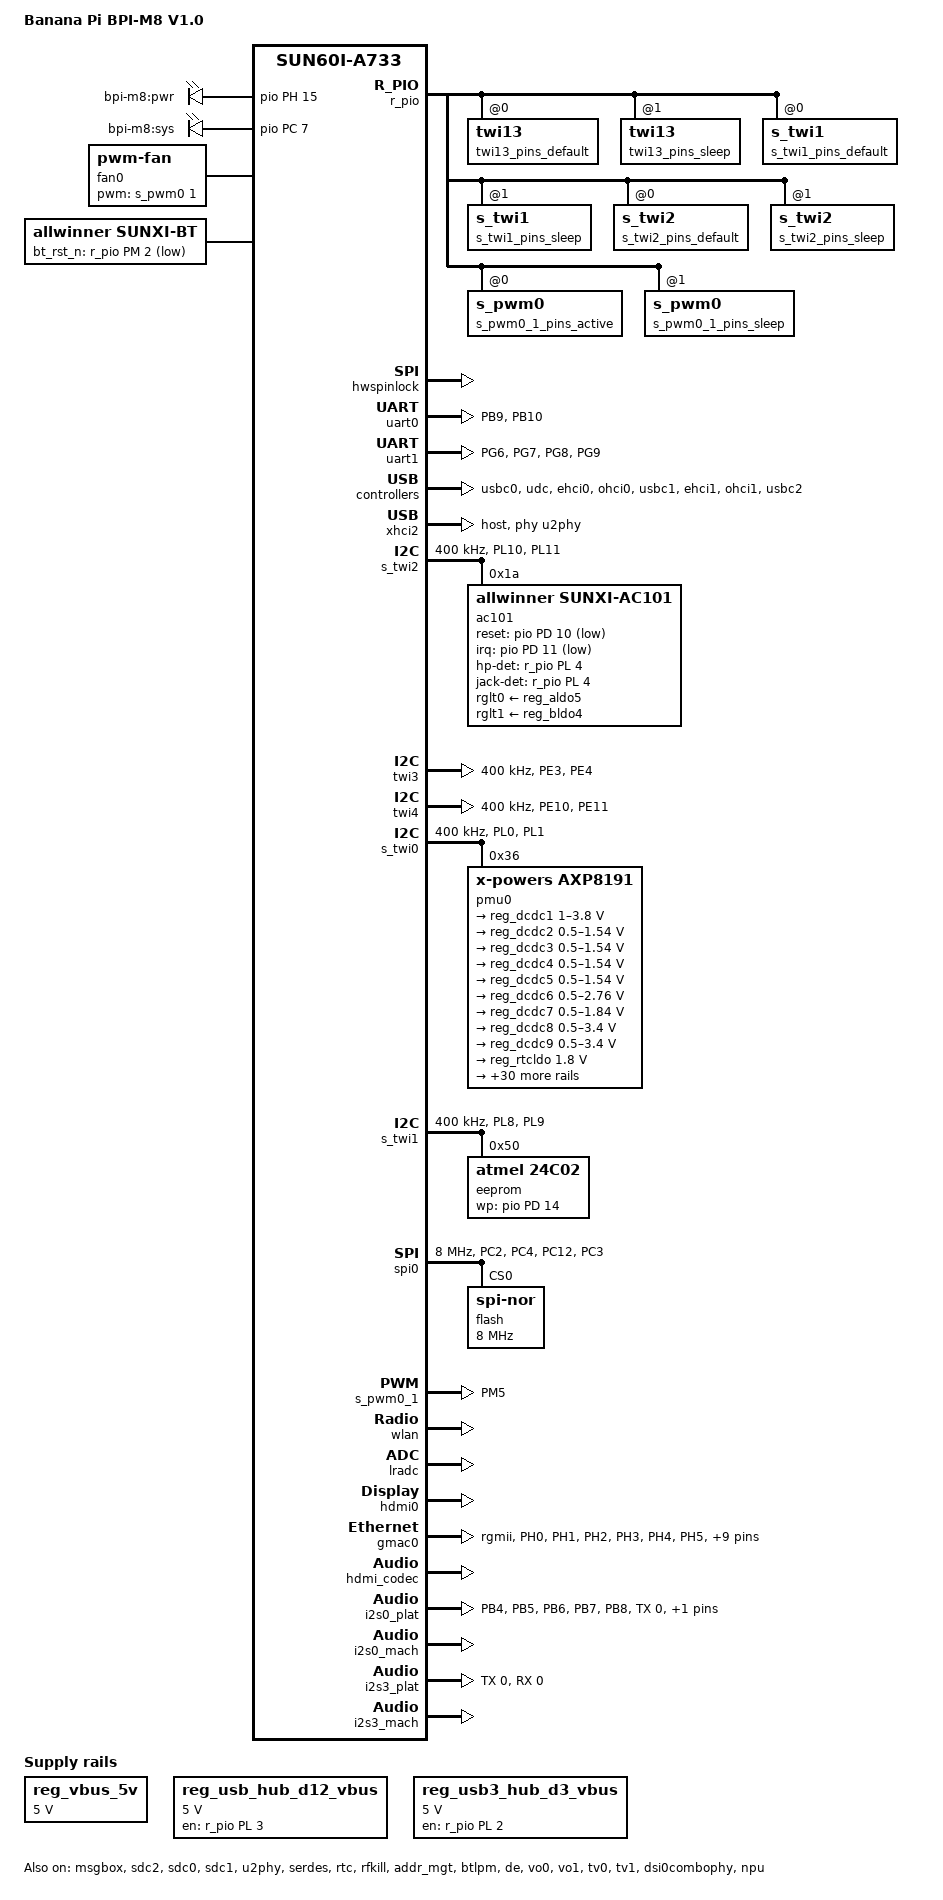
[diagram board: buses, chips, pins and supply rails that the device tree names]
// SPDX-License-Identifier: (GPL-2.0+ or MIT)

/dts-v1/;

#include "sun60iw2p1.dtsi"
#include <dt-bindings/input/linux-event-codes.h>
#include <dt-bindings/spi/sunxi-spi.h>

/ {
	model = "Banana Pi BPI-M8 V1.0";
	board = "A733", "A733-BPI-M8-AXP318";
	compatible = "bananapi,bananapi-m8", "allwinner,a733", "arm,sun60iw2p1";
	aliases {
		standby_param = &standby_param;
		arisc-config = &arisc_config;
		pmu0 = &pmu0;
		mmc0 = &sdc0;
		mmc1 = &sdc2;
		mmc2 = &sdc1;
		sunxi-mmc2 = &sdc2;
	};

	leds {
		compatible = "gpio-leds";

		pwr-led {
			label = "bpi-m8:pwr";
			gpios = <&pio PH 15 GPIO_ACTIVE_HIGH>;
			default-state = "on";
		};

		sys-led {
			label = "bpi-m8:sys";
			gpios = <&pio PC 7 GPIO_ACTIVE_HIGH>;
			linux,default-trigger = "heartbeat";
		};
	};

	reg_vbus_5v: regulator-vbus-5v {
		compatible = "regulator-fixed";
		regulator-name = "vbus-axp318-5v";
		regulator-min-microvolt = <5000000>;
		regulator-max-microvolt = <5000000>;
		regulator-always-on;
		regulator-boot-on;
	};

	/* CH334F downstream HOST-D1/HOST-D2 external 5V enable. */
	reg_usb_hub_d12_vbus: usb-hub-d12-vbus {
		compatible = "regulator-fixed";
		regulator-name = "usb-hub-d12-vbus";
		regulator-min-microvolt = <5000000>;
		regulator-max-microvolt = <5000000>;
		regulator-enable-ramp-delay = <1000>;
		gpio = <&r_pio PL 3 GPIO_ACTIVE_HIGH>;
		enable-active-high;
		regulator-always-on;
		regulator-boot-on;
	};

	/* HOST-D3 plus USB3 SS port external 5V enable. */
	reg_usb3_hub_d3_vbus: usb3-hub-d3-vbus {
		compatible = "regulator-fixed";
		regulator-name = "usb3-hub-d3-vbus";
		regulator-min-microvolt = <5000000>;
		regulator-max-microvolt = <5000000>;
		regulator-enable-ramp-delay = <1000>;
		gpio = <&r_pio PL 2 GPIO_ACTIVE_HIGH>;
		enable-active-high;
		regulator-always-on;
		regulator-boot-on;
	};

	standby_param: standby_param {
		vdd-cpub = <0x00000004 0x00000000>;
		vdd-cpu = <0x00000010 0x00000000>;
		vdd-sys = <0x00000002 0x00000000>;
		vdd-gpu = <0x00000008 0x00000000>;
		vdd-npu = <0x00000002 0x00000000>;
		vcc-pll = <0x01000000 0x00000000>;
		vcc18-hdmi = <0x00800000 0x00000000>;
		avdd-h-combo = <0x04000000 0x00000000>;
		vcc-io  = <0x00000400 0x00000000>;
		vcc25-ufs = <0x00000000 0x00000001>;
		vcc18-12-ufs = <0x00000080 0x00000000>;
		vcc-efuse = <0x08000000 0x00000000>;

		vdd-usb = <0x00000001>;
		osc24m-on = <0>;
	};

	arisc_config: arisc_config {
		s_uart_config{
			pins = "PL2", "PL3";
			function = <3>, <3>;
			status = "disabled";
		};
	};

	backlight0: backlight0 {
		compatible = "pwm-backlight";
		status = "disabled";
		brightness-levels = <
			  0   1   2   3   4   5   6   7
			  8   9  10  11  12  13  14  15
			 16  17  18  19  20  21  22  23
			 24  25  26  27  28  29  30  31
			 32  33  34  35  36  37  38  39
			 40  41  42  43  44  45  46  47
			 48  49  50  51  52  53  54  55
			 56  57  58  59  60  61  62  63
			 64  65  66  67  68  69  70  71
			 72  73  74  75  76  77  78  79
			 80  81  82  83  84  85  86  87
			 88  89  90  91  92  93  94  95
			 96  97  98  99 100 101 102 103
			104 105 106 107 108 109 110 111
			112 113 114 115 116 117 118 119
			120 121 122 123 124 125 126 127
			128 129 130 131 132 133 134 135
			136 137 138 139 140 141 142 143
			144 145 146 147 148 149 150 151
			152 153 154 155 156 157 158 159
			160 161 162 163 164 165 166 167
			168 169 170 171 172 173 174 175
			176 177 178 179 180 181 182 183
			184 185 186 187 188 189 190 191
			192 193 194 195 196 197 198 199
			200 201 202 203 204 205 206 207
			208 209 210 211 212 213 214 215
			216 217 218 219 220 221 222 223
			224 225 226 227 228 229 230 231
			232 233 234 235 236 237 238 239
			240 241 242 243 244 245 246 247
			248 249 250 251 252 253 254 255>;
		default-brightness-level = <73>;
		pwms = <&pwm0 4 25000 0>;
		enable-gpios = <&pio PD 19 GPIO_ACTIVE_HIGH>;
	};

	fan0: pwm-fan {
		compatible = "pwm-fan";
		#cooling-cells = <2>;
		cooling-levels = <1 64 128 192 255>;
		pwms = <&s_pwm0 1 25000 0>;
	};

	panel_0: panel_0@0 {
		compatible = "allwinner,panel-dsi";
		status = "disabled";
		power-delay-ms = <10>;
		power-num = <2>;
		power0-supply = <&reg_vbus_5v>;
		power1-supply = <&reg_bldo2>;
		// avdd-supply = <&reg_ext_ocp2131_avdd>;
		// avdd-output-voltage = <6000000>;
		// avee-supply = <&reg_ext_ocp2131_avee>;
		// avee-output-voltage = <6000000>;

		/* The panel overlay owns the shared LCD/touch power enable. */
		gpio-num = <0>;
		reset-on-sequence = <1 5>, <0 10>, <1 120>;
		reset-off-sequence = <0 10>;
		reset-gpios = <&pio PD 21 GPIO_ACTIVE_HIGH>; //reset
		backlight = <&backlight0>;
		rotation = <90>;
		dsi,flags = <1>;
		dsi,lanes = <4>;
		dsi,format = <0>;
	panel-init-sequence = [
		15 00 02 E0 00
		15 00 02 E1 93
		15 00 02 E2 65
		15 00 02 E3 F8
		15 00 02 80 03

		15 00 02 E0 01
		15 00 02 00 00
		15 00 02 01 37
		15 00 02 03 00
		15 00 02 04 37
		15 00 02 17 00
		15 00 02 18 AF
		15 00 02 19 01
		15 00 02 1A 00
		15 00 02 1B AF
		15 00 02 1C 01
		15 00 02 24 FE
		15 00 02 35 28
		15 00 02 37 09
		15 00 02 38 04
		15 00 02 39 08
		15 00 02 3A 12
		15 00 02 3C 78
		15 00 02 3D FF
		15 00 02 3E FF
		15 00 02 3F FF
		15 00 02 40 06
		15 00 02 41 A0
		15 00 02 43 11
		15 00 02 44 0F
		15 00 02 45 28
		15 00 02 55 02
		15 00 02 57 89
		15 00 02 59 0A
		15 00 02 5A 29
		15 00 02 5B 15
		15 00 02 5D 7F
		15 00 02 5E 62
		15 00 02 5F 53
		15 00 02 60 46
		15 00 02 61 42
		15 00 02 62 34
		15 00 02 63 37
		15 00 02 64 21
		15 00 02 65 3B
		15 00 02 66 3A
		15 00 02 67 38
		15 00 02 68 54
		15 00 02 69 3E
		15 00 02 6A 41
		15 00 02 6B 33
		15 00 02 6C 2E
		15 00 02 6D 20
		15 00 02 6E 0F
		15 00 02 6F 02
		15 00 02 70 67
		15 00 02 71 62
		15 00 02 72 53
		15 00 02 73 46
		15 00 02 74 42
		15 00 02 75 34
		15 00 02 76 37
		15 00 02 77 21
		15 00 02 78 3B
		15 00 02 79 3A
		15 00 02 7A 38
		15 00 02 7B 54
		15 00 02 7C 3E
		15 00 02 7D 41
		15 00 02 7E 33
		15 00 02 7F 2E
		15 00 02 80 20
		15 00 02 81 0F
		15 00 02 82 02

		15 00 02 E0 02
		15 00 02 00 5F
		15 00 02 01 5F
		15 00 02 02 53
		15 00 02 03 51
		15 00 02 04 4B
		15 00 02 05 49
		15 00 02 06 47
		15 00 02 07 45
		15 00 02 08 41
		15 00 02 09 43
		15 00 02 0A 5F
		15 00 02 0B 5F
		15 00 02 0C 5F
		15 00 02 0D 5F
		15 00 02 0E 5F
		15 00 02 0F 5F
		15 00 02 10 5F
		15 00 02 11 5F
		15 00 02 12 5F
		15 00 02 13 5F
		15 00 02 14 5F
		15 00 02 15 5F
		15 00 02 16 5F
		15 00 02 17 5F
		15 00 02 18 52
		15 00 02 19 50
		15 00 02 1A 4A
		15 00 02 1B 48
		15 00 02 1C 46
		15 00 02 1D 44
		15 00 02 1E 40
		15 00 02 1F 42
		15 00 02 20 5F
		15 00 02 21 5F
		15 00 02 22 5F
		15 00 02 23 5F
		15 00 02 24 5F
		15 00 02 25 5F
		15 00 02 26 5F
		15 00 02 27 5F
		15 00 02 28 5F
		15 00 02 29 5F
		15 00 02 2A 5F
		15 00 02 2B 5F
		15 00 02 2C 5F
		15 00 02 2D 5F
		15 00 02 2E 00
		15 00 02 2F 02
		15 00 02 30 08
		15 00 02 31 0A
		15 00 02 32 04
		15 00 02 33 06
		15 00 02 34 12
		15 00 02 35 10
		15 00 02 36 1F
		15 00 02 37 1F
		15 00 02 38 1F
		15 00 02 39 1F
		15 00 02 3A 1F
		15 00 02 3B 1F
		15 00 02 3C 1F
		15 00 02 3D 1F
		15 00 02 3E 1F
		15 00 02 3F 1F
		15 00 02 40 1F
		15 00 02 41 1F
		15 00 02 42 5F
		15 00 02 43 5F
		15 00 02 44 01
		15 00 02 45 03
		15 00 02 46 09
		15 00 02 47 0B
		15 00 02 48 05
		15 00 02 49 07
		15 00 02 4A 13
		15 00 02 4B 11
		15 00 02 4C 1F
		15 00 02 4D 1F
		15 00 02 4E 1F
		15 00 02 4F 1F
		15 00 02 50 1F
		15 00 02 51 1F
		15 00 02 52 1F
		15 00 02 53 1F
		15 00 02 54 1F
		15 00 02 55 1F
		15 00 02 56 1F
		15 00 02 57 1F
		15 00 02 58 40
		15 00 02 5B 30
		15 00 02 5C 09
		15 00 02 5D 30
		15 00 02 5E 01
		15 00 02 5F 02
		15 00 02 60 30
		15 00 02 61 01
		15 00 02 62 02
		15 00 02 63 1C
		15 00 02 64 6A
		15 00 02 65 75
		15 00 02 66 0D
		15 00 02 67 72
		15 00 02 68 0C
		15 00 02 69 1C
		15 00 02 6A 6A
		15 00 02 6B 08
		15 00 02 6C 00
		15 00 02 6D 00
		15 00 02 6E 00
		15 00 02 6F 88
		15 00 02 75 BB
		15 00 02 76 01
		15 00 02 77 0D
		15 00 02 78 10

		15 00 02 E0 04
		15 00 02 00 0E
		15 00 02 02 B3
		15 00 02 09 60
		15 00 02 0E 48
		15 00 02 E0 00
		15 78 02 11 00
		15 05 02 29 00
		15 00 02 35 00
	];

		panel-exit-sequence = [
			05 00 01 28
			05 78 01 10
		];

		display-timings {
			native-mode = <&timing0>;
			timing0: timing0 {
				clock-frequency = <67750800>;
				hback-porch = <20>;
				hactive = <800>;
				hfront-porch = <20>;
				hsync-len = <20>;
				vback-porch = <8>;
				vactive = <1280>;
				vfront-porch = <17>;
				vsync-len = <8>;
				hsync-active = <0>;
				vsync-active = <0>;
				de-active = <0>;
				pixelclk-active = <1>;
			};
		};
		port {
			panel0_in: endpoint@0 {
				reg = <0>;
				remote-endpoint = <&panel_output_0>;
			};
		};
	};
};

&ccu {
	clk-init-gate = <1>;
};

&pio {
	/* V1.0 powers the PK header/camera GPIO bank from DLDO4 at 3.3 V. */
	vcc-pk-supply = <&reg_dldo4>;

	/*
	 * U15 W25Q64FW uses single-bit SPI0 on the M8 board. PC15/PC16 are
	 * only alternate-function names matching SPI0 WP#/HOLD#; the flash
	 * WP#/HOLD# nets are not connected to those SoC GPIOs and are held
	 * high by the board pull-ups.
	 */
	spi0_pins_default: spi0-pins-default {
		pins = "PC2", "PC4", "PC12";
		function = "spi0";
		drive-strength = <10>;
	};

	spi0_cs0_pin: spi0-cs0-pin {
		pins = "PC3";
		function = "spi0";
		drive-strength = <10>;
		bias-pull-up;
	};

	spi0_pins_sleep: spi0-pins-sleep {
		pins = "PC2", "PC3", "PC4", "PC12";
		function = "gpio_in";
	};

	uart0_pins_active: uart0_pins@0 {
		pins = "PB9", "PB10";
		function = "uart0";
		drive-strength = <10>;
		bias-pull-up;
	};

	uart0_pins_sleep: uart0_pins@1 {
		pins = "PB9", "PB10";
		function = "gpio_in";
	};

	uart1_pins_active: uart1_pins@0 {
		pins = "PG6", "PG7", "PG8", "PG9";
		function = "uart1";
		drive-strength = <10>;
		bias-pull-up;
	};

	uart1_pins_sleep: uart1_pins@1 {
		pins = "PG6", "PG7", "PG8", "PG9";
		function = "gpio_in";
	};

	/* PB0-PB3 go to the 40-pin UART2 header, not volume buttons. */
	uart2_pins_active: uart2_pins@0 {
		pins = "PB0", "PB1", "PB2", "PB3";
		function = "uart2";
		drive-strength = <10>;
	};

	uart2_pins_sleep: uart2_pins@1 {
		pins = "PB0", "PB1", "PB2", "PB3";
		function = "io_disabled";
		drive-strength = <10>;
	};

	uart4_pins_active: uart4_pins@0 {
		pins = "PJ24", "PJ25", "PJ26", "PJ27";
		function = "uart4";
		drive-strength = <10>;
	};

	uart4_pins_sleep: uart4_pins@1 {
		pins = "PJ24", "PJ25", "PJ26", "PJ27";
		function = "io_disabled";
		drive-strength = <10>;
	};

	uart5_pins_active: uart5_pins@0 {
		pins = "PH13", "PH14", "PH15", "PH16";
		function = "uart5";
		drive-strength = <10>;
	};

	uart5_pins_sleep: uart5_pins@1 {
		pins = "PH13", "PH14", "PH15", "PH16";
		function = "io_disabled";
		drive-strength = <10>;
	};

	uart6_pins_active: uart6_pins@0 {
		pins = "PK0", "PK1", "PK2", "PK3";
		function = "uart6";
		drive-strength = <10>;
	};

	uart6_pins_sleep: uart6_pins@1 {
		pins = "PK0", "PK1", "PK2", "PK3";
		function = "io_disabled";
		drive-strength = <10>;
	};

	twi1_pins_default: twi1@0 {
		pins = "PH2", "PH3";
		function = "twi1";
		drive-strength = <10>;
		bias-pull-up;
	};

	twi1_pins_sleep: twi1@1 {
		pins = "PH2", "PH3";
		function = "gpio_in";
	};

	twi2_pins_default: twi2@0 {
		pins = "PD16", "PD17";
		function = "twi2";
		drive-strength = <10>;
		bias-pull-up;
	};

	twi2_pins_sleep: twi2@1 {
		pins = "PD16", "PD17";
		function = "gpio_in";
	};

	twi3_pins_default: twi3@0 {
		pins = "PE3", "PE4";
		function = "twi3";
		drive-strength = <10>;
		bias-pull-up;
	};

	twi3_pins_sleep: twi3@1 {
		pins = "PE3", "PE4";
		function = "gpio_in";
	};

	twi4_pins_default: twi4@0 {
		pins = "PE10", "PE11";
		function = "twi4";
		drive-strength = <10>;
		bias-pull-up;
	};

	twi4_pins_sleep: twi4@1 {
		pins = "PE10", "PE11";
		function = "gpio_in";
	};

	pwm0_4_pins_active: pwm0@0 {
		pins = "PD22";
		function = "pwm0_4";
	};

	pwm0_4_pins_sleep: pwm0@1 {
		pins = "PD22";
		function = "gpio_in";
		bias-pull-down;
	};

	gmac0_pins_default: gmac0@0 {
		pins = "PH0", "PH1", "PH2", "PH3",
			"PH4", "PH5", "PH6", "PH7",
			"PH8", "PH9", "PH10", "PH11",
			"PH12", "PH13", "PH14";
		function = "rgmii0";
		drive-strength = <40>;
		bias-pull-up;
	};

	gmac0_pins_sleep: gmac0@1 {
		pins = "PH0", "PH1", "PH2", "PH3",
			"PH4", "PH5", "PH6", "PH7",
			"PH8", "PH9", "PH10", "PH11",
			"PH12", "PH13", "PH14";
		function = "io_disabled";
	};

	/* i2s0 pins */
	i2s0_pins_a: i2s0@0 {
		pins = "PB4";
		function = "i2s0_mclk";
		drive-strength = <10>;
		bias-disable;
	};

	i2s0_pins_b: i2s0@1 {
		pins = "PB5";
		function = "i2s0_bclk";
		drive-strength = <10>;
		bias-disable;
	};

	i2s0_pins_c: i2s0@2 {
		pins = "PB6";
		function = "i2s0_lrck";
		drive-strength = <10>;
		bias-disable;
	};

	i2s0_pins_d: i2s0@3 {
		pins = "PB7";
		function = "i2s0_dout0";
		drive-strength = <10>;
		bias-disable;
	};

	i2s0_pins_e: i2s0@4 {
		pins = "PB8";
		function = "i2s0_din0";
		drive-strength = <10>;
		bias-pull-down;
	};

	i2s0_pins_f: i2s0@5 {
		pins = "PB4", "PB5", "PB6", "PB7", "PB8";
		function = "io_disabled";
		drive-strength = <10>;
		bias-disable;
	};

	/* i2s1 pins */
	i2s1_pins_a: i2s1@1 {
		pins = "PG11";
		function = "i2s1_bclk";
		drive-strength = <20>;
		bias-disable;
	};

	i2s1_pins_b: i2s1@2 {
		pins = "PG12";
		function = "i2s1_lrck";
		drive-strength = <20>;
		bias-disable;
	};

	i2s1_pins_c: i2s1@3 {
		pins = "PG13";
		function = "i2s1_dout0";
		drive-strength = <20>;
		bias-disable;
	};

	i2s1_pins_d: i2s1@4 {
		pins = "PG14";
		function = "i2s1_din0";
		drive-strength = <20>;
		bias-disable;
	};

	i2s1_pins_e: i2s1@5 {
		pins = "PG11", "PG12", "PG13", "PG14";
		function = "io_disabled";
		drive-strength = <20>;
		bias-disable;
	};

	ledc_pins_a: ledc@0 {
		pins = "PE4";
		function = "ledc";
		drive-strength = <10>;
	};

	ledc_pins_b: ledc@1 {
		pins = "PE4";
		function = "gpio_in";
	};
};

&r_pio {
	uart7_pins_active: uart7-pins-active {
		pins = "PL6", "PL7";
		function = "s_uart0";
		drive-strength = <10>;
		bias-pull-up;
	};

	uart7_pins_sleep: uart7-pins-sleep {
		pins = "PL6", "PL7";
		function = "gpio_in";
	};

	uart8_pins_active: uart8-pins-active {
		pins = "PL12", "PL13";
		function = "s_uart1";
		drive-strength = <10>;
		bias-pull-up;
	};

	uart8_pins_sleep: uart8-pins-sleep {
		pins = "PL12", "PL13";
		function = "gpio_in";
	};

	twi13_pins_default: twi13@0 {
		pins = "PL0", "PL1";
		function = "s_twi0";
		drive-strength = <10>;
		bias-pull-up;
	};

	twi13_pins_sleep: twi13@1 {
		pins = "PL0", "PL1";
		function = "gpio_in";
	};

	s_twi1_pins_default: s_twi1@0 {
		pins = "PL8", "PL9";
		function = "s_twi1";
		drive-strength = <10>;
		bias-pull-up;
	};

	s_twi1_pins_sleep: s_twi1@1 {
		pins = "PL8", "PL9";
		function = "gpio_in";
	};

	s_twi2_pins_default: s_twi2@0 {
		pins = "PL10", "PL11";
		function = "s_twi2";
		drive-strength = <10>;
		bias-pull-up;
	};

	s_twi2_pins_sleep: s_twi2@1 {
		pins = "PL10", "PL11";
		function = "gpio_in";
	};

	s_pwm0_1_pins_active: s_pwm0@0 {
		pins = "PM5";
		function = "s_pwm0_1";
		drive-strength = <10>;
	};

	s_pwm0_1_pins_sleep: s_pwm0@1 {
		pins = "PM5";
		function = "gpio_in";
		bias-pull-down;
	};
};

&soc {
	auto_print@54321 {
		reg = <0x0 0x54321 0x0 0x0>;
		device_type = "auto_print";
		status = "okay";
	};
};

&msgbox {
	status = "okay";
};

&hwspinlock {
	status = "okay";
};

&uart0 {
	/*
	 * The UART controllers use a 16x integer baud-rate divider.  Apply the
	 * shared APB-UART clock assignment from this always-enabled consumer,
	 * after the CCU provider is available.  At 48 MHz, both 115200 and
	 * 230400 have about 0.16% error and 1500000 remains exact.
	 */
	assigned-clocks = <&ccu CLK_APB_UART>;
	assigned-clock-parents = <&ccu CLK_PLL_PERI0_480M>;
	assigned-clock-rates = <48000000>;
	pinctrl-names = "default", "sleep";
	pinctrl-0 = <&uart0_pins_active>;
	pinctrl-1 = <&uart0_pins_sleep>;
	status = "okay";
};

&uart1 {
	pinctrl-names = "default", "sleep";
	pinctrl-0 = <&uart1_pins_active>;
	pinctrl-1 = <&uart1_pins_sleep>;
	status = "okay";
};

&uart2 {
	pinctrl-names = "default", "sleep";
	pinctrl-0 = <&uart2_pins_active>;
	pinctrl-1 = <&uart2_pins_sleep>;
	status = "disabled";
};

&uart4 {
	pinctrl-names = "default", "sleep";
	pinctrl-0 = <&uart4_pins_active>;
	pinctrl-1 = <&uart4_pins_sleep>;
	status = "disabled";
};

&uart5 {
	pinctrl-names = "default", "sleep";
	pinctrl-0 = <&uart5_pins_active>;
	pinctrl-1 = <&uart5_pins_sleep>;
	status = "disabled";
};

&uart6 {
	pinctrl-names = "default", "sleep";
	pinctrl-0 = <&uart6_pins_active>;
	pinctrl-1 = <&uart6_pins_sleep>;
	status = "disabled";
};

&uart7 {
	pinctrl-names = "default", "sleep";
	pinctrl-0 = <&uart7_pins_active>;
	pinctrl-1 = <&uart7_pins_sleep>;
	status = "disabled";
};

&uart8 {
	pinctrl-names = "default", "sleep";
	pinctrl-0 = <&uart8_pins_active>;
	pinctrl-1 = <&uart8_pins_sleep>;
	status = "disabled";
};

&sdc2 {
	non-removable;
	bus-width = <8>;
	mmc-ddr-1_8v;
	mmc-hs200-1_8v;
	/* HS400/200MHz is unstable on BPI-M8 eMMC. */
	/*mmc-hs400-1_8v;*/
	no-sdio;
	no-sd;
	ctl-spec-caps = <0x328>;
	cap-mmc-highspeed;
	sunxi-power-save-mode;
	sunxi-dis-signal-vol-sw;
	mmc-bootpart-noacc;
	/*cap-hsq;*/
	/* CQE is disabled for BPI-M8 eMMC stability. */
	/*cqe-on;*/
	/*ctl-cmdq-md = <0x2>;*/
	max-frequency = <150000000>;
	/*vmmc-supply = <&reg_cldo3>;*/
	/*emmc io vol 3.3v*/
	/*vqmmc-supply = <&reg_aldo1>;*/
	/*emmc io vol 1.8v*/
	/*vqmmc-supply = <&reg_cldo1>;*/
	status = "okay";
};

&sdc3 {
	status = "disabled";
};

&sdc0 {
	bus-width = <4>;
	cd-gpios = <&pio PF 6 (GPIO_ACTIVE_LOW | GPIO_PULL_UP)>;
	/*data3-detect;*/
	/*card-pwr-gpios = <&pio PH 14 1 1 2 0xffffffff>;*/
	cd-used-24M;
	cd-set-debounce = <0x1>;
	cap-sd-highspeed;
	sd-uhs-sdr50;
	sd-uhs-ddr50;
	sd-uhs-sdr104;
	no-sdio;
	no-mmc;
	sunxi-power-save-mode;
	/*sunxi-dis-signal-vol-sw;*/
	max-frequency = <150000000>;
	ctl-spec-caps = <0x428>;
	/*vmmc-supply = <&reg_cldo3>;*/
	/*vqmmc33sw-supply = <&reg_cldo3>;*/
	/*vdmmc33sw-supply = <&reg_cldo3>;*/
	/*vqmmc18sw-supply = <&reg_cldo1>;*/
	/*vdmmc18sw-supply = <&reg_cldo1>;*/
	status = "okay";
};

&sdc1 {
	bus-width = <4>;
	no-mmc;
	no-sd;
	non-removable;
	cap-sd-highspeed;
	/*sunxi-power-save-mode;*/
	sunxi-dis-signal-vol-sw;
	cap-sdio-irq;
	keep-power-in-suspend;
	ignore-pm-notify;
	/*
	 * The on-board Wi-Fi SDIO link is unstable at SDR104/200MHz on BPI-M8:
	 * the card can probe once, then hit cmd7/cmd52 timeouts and re-enumerate.
	 * Keep it at high-speed 50MHz until reliable UHS timing is validated.
	 */
	max-frequency = <50000000>;
	ctl-spec-caps = <0x428>;
	status = "okay";
};

/*
 * usb_port_type: usb mode. 0-device, 1-host, 2-otg.
 * usb_detect_type: usb hotplug detect mode. 0-none, 1-vbus/id detect, 2-pmu detect, 3-tcpm detect.
 * usb_detect_mode: 0-thread scan, 1-id gpio interrupt, 2-pmu notify.
 * usb_id_gpio: gpio for id detect.
 * usb_det_vbus_gpio: gpio for id detect. gpio or "axp_ctrl".
 * usb_wakeup_suspend：0-SUPER_STANDBY, 1-USB_STANDBY.
 */
&usbc0 {
	device_type = "usbc0";
	usb_port_type = <0x0>;
	usb_detect_type = <0x2>;
	usb_detect_mode = <0x2>;
	usb_id_gpio;
	usb_det_vbus_gpio = "axp_ctrl";
	detvbus_io-supply = <&reg_cldo1>;
	usb_regulator_io = "nocare";
	usb_wakeup_suspend = <0>;
	usb_luns = <3>;
	usb_serial_unique = <0>;
	usb_serial_number = "20080411";
	rndis_wceis = <1>;
	status = "okay";
};

&udc {
	phy_range = <0x188>;
	status = "okay";
};

&ehci0 {
	phy_range = <0x188>;
	status = "okay";
};

&ohci0 {
	phy_range = <0x188>;
	status = "okay";
};

&usbc1 {
	device_type = "usbc1";
	usb_regulator_io = "nocare";
	usb_wakeup_suspend = <0>;
	status = "okay";
};

&ehci1 {
	phy_range = <0x188>;
	drvvbus-supply = <&reg_usb3_hub_d3_vbus>;
	status = "okay";
};

&ohci1 {
	phy_range = <0x188>;
	drvvbus-supply = <&reg_usb3_hub_d3_vbus>;
	status = "okay";
};

&usbc2 {
	device_type = "usbc2";
	drvvbus-supply = <&reg_usb3_hub_d3_vbus>;
	status = "okay";
};

&xhci2 {
	dr_mode = "host";
	drvvbus-supply = <&reg_usb3_hub_d3_vbus>;
	phys = <&u2phy>, <&combo0_usb>;
	phy-names = "usb2-phy", "usb3-phy";
	status = "okay";
};

&u2phy {
	status = "okay";
};

&serdes {
	serdes1v8-supply = <&reg_cldo5>;
	status = "okay";
};

&twi1 {
	clock-frequency = <400000>;
	pinctrl-0 = <&twi1_pins_default>;
	pinctrl-1 = <&twi1_pins_sleep>;
	pinctrl-names = "default", "sleep";
	/* For stability and backwards compatibility, we recommend setting ‘twi_drv_used’ to 1 */
	twi_drv_used = <1>;
	twi-supply = <&reg_dc1sw2>;
	status = "disabled";
};

&twi2 {
	clock-frequency = <400000>;
	pinctrl-0 = <&twi2_pins_default>;
	pinctrl-1 = <&twi2_pins_sleep>;
	pinctrl-names = "default", "sleep";
	/* For stability and backwards compatibility, we recommend setting ‘twi_drv_used’ to 1 */
	twi_drv_used = <1>;
	twi-supply = <&reg_bldo2>;
	status = "disabled";
};

&s_twi2 {
	clock-frequency = <400000>;
	pinctrl-0 = <&s_twi2_pins_default>;
	pinctrl-1 = <&s_twi2_pins_sleep>;
	pinctrl-names = "default", "sleep";
	/* For stability and backwards compatibility, we recommend setting ‘twi_drv_used’ to 1 */
	twi_drv_used = <1>;
	no_suspend = <1>;
	status = "okay";

	ac101: ac101@1a {
		#sound-dai-cells		= <0>;
		compatible			= "allwinner,sunxi-ac101";
		reg				= <0x1a>;
		pllclk-src			= "MCLK";
		sysclk-src			= "MCLK";
		pcm-bit-first			= "MSB";
		frame-sync-width		= <1>;

		reset-gpios	= <&pio PD 10 GPIO_ACTIVE_LOW>;
		irq-gpio	= <&pio PD 11 GPIO_ACTIVE_LOW>;
		hp-det-gpio	= <&r_pio PL 4 GPIO_ACTIVE_HIGH>;
		jack-det-gpio	= <&r_pio PL 4 GPIO_ACTIVE_HIGH>;
		/* The driver expects the unplugged level; PL4 is high on insertion. */
		jack-det-gpio-level	= <0>;
		/* CN22 is fixed OMTP wiring, without Type-C or MIC/GND switches. */
		jack-det-level	= <1>;
		jack-det-threshold		= <1>;
		jack-key-det-threshold		= <10>;
		jack-det-debouce-time		= <15>;
		jack-key-det-debouce-time	= <2>;

		/* jack-key-det-voltage = <min max> */
		jack-key-det-voltage-hook	= <23 24>;
		jack-key-det-voltage-up		= <21 22>;
		jack-key-det-voltage-down	= <18 20>;
		// jack-key-det-voltage-voice	= <1 1>;

		/* rglt */
		rglt-max	= <2>;
		rglt0-mode	= "PMU";
		rglt0-voltage	= <3300000>;
		rglt0-supply	= <&reg_aldo5>;

		rglt1-mode	= "PMU";
		rglt1-voltage	= <1800000>;
		rglt1-supply	= <&reg_bldo4>;

		status		= "okay";
	};
};

&twi3 {
	clock-frequency = <400000>;
	pinctrl-0 = <&twi3_pins_default>;
	pinctrl-1 = <&twi3_pins_sleep>;
	pinctrl-names = "default", "sleep";
	/* For stability and backwards compatibility, we recommend setting ‘twi_drv_used’ to 1 */
	twi_drv_used = <1>;
	twi-supply = <&reg_bldo1>;
	status = "okay";
};

&twi4 {
	clock-frequency = <400000>;
	pinctrl-0 = <&twi4_pins_default>;
	pinctrl-1 = <&twi4_pins_sleep>;
	pinctrl-names = "default", "sleep";
	/* For stability and backwards compatibility, we recommend setting ‘twi_drv_used’ to 1 */
	twi_drv_used = <1>;
	twi-supply = <&reg_bldo1>;
	status = "okay";
};

&vind0 {
	vind_mclkpin-supply = <&reg_bldo1>; /* VCC-PE */
	vind_mclkpin_vol = <1800000>;
	vind_mcsipin-supply = <&reg_dldo4>; /* VCC-PK, 3.3 V on V1.0 */
	vind_mcsipin_vol = <3300000>;
	vind_mipipin-supply = <&reg_bldo1>; /* VCC-MCSI */
	vind_mipipin_vol = <1800000>;
};

/* PK20-PK25 are on the 40-pin header, not a third camera connector. */
&mipi2 {
	status = "disabled";
};

&s_twi0 {
	clock-frequency = <400000>;
	pinctrl-0 = <&twi13_pins_default>;
	pinctrl-1 = <&twi13_pins_sleep>;
	pinctrl-names = "default", "sleep";
	/* For stability and backwards compatibility, we recommend setting ‘twi_drv_used’ to 1 */
	twi_drv_used = <1>;
	//twi-supply = <&reg_aldo1>;
	no_suspend = <1>;
	status = "okay";

	pmu0: pmu@36 {
		compatible = "x-powers,axp8191";
		reg = <0x36>;
		status = "okay";
		interrupts = <0 IRQ_TYPE_LEVEL_LOW>;
		interrupt-parent = <&nmi_intc>;
		pmu_irq_wakeup = <1>;
		pmu_hot_shutdown = <1>;

		powerkey1: powerkey@1 {
			compatible = "x-powers,axp2101-pek";
			status = "okay";
			pmu_powkey_off_en = <1>;
			pmu_powkey_off_func = <1>;
			pmu_powkey_off_time = <6000>;
			pmu_powkey_long_time = <1500>;
			pmu_powkey_on_time = <1000>;
			wakeup_rising;
			wakeup_falling;
		};

		power_temp_ctrl0: power_temp_ctrl@0 {
			compatible = "x-powers,axp8191-temp-ctrl";
			status = "disabled";
		};

		regulator0: regulators@0 {
			reg_dcdc1: dcdc1 {
				regulator-name = "axp8191-dcdc1";
				regulator-min-microvolt = <1000000>;
				regulator-max-microvolt = <3800000>;
				regulator-enable-ramp-delay = <1000>;
				regulator-ramp-delay = <250>;
				regulator-boot-on;
				regulator-always-on;
			};
			reg_dcdc2: dcdc2 {
				regulator-name = "axp8191-dcdc2";
				regulator-min-microvolt = <500000>;
				regulator-max-microvolt = <1540000>;
				regulator-ramp-delay = <250>;
				regulator-enable-ramp-delay = <1000>;
				regulator-boot-on;
				regulator-always-on;
			};
			reg_dcdc3: dcdc3 {
				regulator-name = "axp8191-dcdc3";
				regulator-min-microvolt = <500000>;
				regulator-max-microvolt = <1540000>;
				regulator-ramp-delay = <250>;
				regulator-enable-ramp-delay = <1000>;
				regulator-boot-on;
				regulator-always-on;
			};
			reg_dcdc4: dcdc4 {
				regulator-name = "axp8191-dcdc4";
				regulator-min-microvolt = <500000>;
				regulator-max-microvolt = <1540000>;
				regulator-ramp-delay = <250>;
				regulator-enable-ramp-delay = <1000>;
				regulator-boot-on;
				regulator-always-on;
			};
			reg_dcdc5: dcdc5 {
				regulator-name = "axp8191-dcdc5";
				regulator-min-microvolt = <500000>;
				regulator-max-microvolt = <1540000>;
				regulator-ramp-delay = <250>;
				regulator-enable-ramp-delay = <1000>;
				regulator-boot-on;
				regulator-always-on;
			};
			reg_dcdc6: dcdc6 {
				regulator-name = "axp8191-dcdc6";
				regulator-min-microvolt = <500000>;
				regulator-max-microvolt = <2760000>;
				regulator-ramp-delay = <250>;
				regulator-enable-ramp-delay = <1000>;
				regulator-boot-on;
				regulator-always-on;
			};
			reg_dcdc7: dcdc7 {
				regulator-name = "axp8191-dcdc7";
				regulator-min-microvolt = <500000>;
				regulator-max-microvolt = <1840000>;
				regulator-ramp-delay = <250>;
				regulator-enable-ramp-delay = <1000>;
				regulator-boot-on;
				regulator-always-on;
			};
			reg_dcdc8: dcdc8 {
				regulator-name = "axp8191-dcdc8";
				regulator-min-microvolt = <500000>;
				regulator-max-microvolt = <3400000>;
				regulator-ramp-delay = <250>;
				regulator-enable-ramp-delay = <1000>;
				regulator-boot-on;
				regulator-always-on;
			};
			reg_dcdc9: dcdc9 {
				regulator-name = "axp8191-dcdc9";
				regulator-min-microvolt = <500000>;
				regulator-max-microvolt = <3400000>;
				regulator-ramp-delay = <250>;
				regulator-enable-ramp-delay = <1000>;
				regulator-boot-on;
				regulator-always-on;
			};
			reg_rtcldo: rtcldo {
				/* RTC_LDO is a fixed, always-on regulator */
				regulator-name = "axp8191-rtcldo";
				regulator-min-microvolt = <1800000>;
				regulator-max-microvolt = <1800000>;
				regulator-boot-on;
				regulator-always-on;
			};
			reg_aldo1: aldo1 {
				regulator-name = "axp8191-aldo1";
				regulator-min-microvolt = <3300000>;
				regulator-max-microvolt = <3300000>;
				regulator-enable-ramp-delay = <1000>;
				regulator-boot-on;
				regulator-always-on;
			};
			reg_aldo2: aldo2 {
				regulator-name = "axp8191-aldo2";
				regulator-min-microvolt = <500000>;
				regulator-max-microvolt = <3400000>;
				regulator-enable-ramp-delay = <1000>;
			};
			reg_aldo3: aldo3 {
				regulator-name = "axp8191-aldo3";
				regulator-min-microvolt = <500000>;
				regulator-max-microvolt = <3400000>;
				regulator-enable-ramp-delay = <1000>;
			};
			reg_aldo4: aldo4 {
				regulator-name = "axp8191-aldo4";
				regulator-min-microvolt = <500000>;
				regulator-max-microvolt = <3400000>;
				regulator-enable-ramp-delay = <1000>;
			};
			reg_aldo5: aldo5 {
				regulator-name = "axp8191-aldo5";
				regulator-min-microvolt = <3300000>;
				regulator-max-microvolt = <3300000>;
				regulator-enable-ramp-delay = <1000>;
				regulator-boot-on;
				regulator-always-on;
			};
			reg_aldo6: aldo6 {
				regulator-name = "axp8191-aldo6";
				regulator-min-microvolt = <500000>;
				regulator-max-microvolt = <3400000>;
				regulator-enable-ramp-delay = <1000>;
			};
			reg_bldo1: bldo1 {
				regulator-name = "axp8191-bldo1";
				regulator-min-microvolt = <1800000>;
				regulator-max-microvolt = <1800000>;
				regulator-enable-ramp-delay = <1000>;
				regulator-boot-on;
				regulator-always-on;
			};
			reg_bldo2: bldo2 {
				regulator-name = "axp8191-bldo2";
				regulator-min-microvolt = <1800000>;
				regulator-max-microvolt = <1800000>;
				regulator-enable-ramp-delay = <1000>;
				regulator-boot-on;
				regulator-always-on;
			};
			reg_bldo3: bldo3 {
				regulator-name = "axp8191-bldo3";
				regulator-min-microvolt = <500000>;
				regulator-max-microvolt = <3400000>;
				regulator-enable-ramp-delay = <1000>;
			};
			reg_bldo4: bldo4 {
				regulator-name = "axp8191-bldo4";
				regulator-min-microvolt = <1800000>;
				regulator-max-microvolt = <1800000>;
				regulator-enable-ramp-delay = <1000>;
				regulator-boot-on;
				regulator-always-on;
			};
			reg_bldo5: bldo5 {
				regulator-name = "axp8191-bldo5";
				regulator-min-microvolt = <1800000>;
				regulator-max-microvolt = <1800000>;
				regulator-enable-ramp-delay = <1000>;
				regulator-boot-on;
				regulator-always-on;
			};
			reg_cldo1: cldo1 {
				regulator-name = "axp8191-cldo1";
				regulator-min-microvolt = <1800000>;
				regulator-max-microvolt = <1800000>;
				regulator-enable-ramp-delay = <1000>;
				regulator-boot-on;
				regulator-always-on;
			};
			reg_cldo2: cldo2 {
				regulator-name = "axp8191-cldo2";
				regulator-min-microvolt = <1800000>;
				regulator-max-microvolt = <1800000>;
				regulator-enable-ramp-delay = <1000>;
				regulator-boot-on;
				regulator-always-on;
			};
			reg_cldo3: cldo3 {
				regulator-name = "axp8191-cldo3";
				regulator-min-microvolt = <1800000>;
				regulator-max-microvolt = <1800000>;
				regulator-enable-ramp-delay = <1000>;
				regulator-boot-on;
				regulator-always-on;
			};
			reg_cldo4: cldo4 {
				regulator-name = "axp8191-cldo4";
				regulator-min-microvolt = <500000>;
				regulator-max-microvolt = <3500000>;
				regulator-enable-ramp-delay = <1000>;
			};
			reg_cldo5: cldo5 {
				regulator-name = "axp8191-cldo5";
				regulator-min-microvolt = <1800000>;
				regulator-max-microvolt = <1800000>;
				regulator-enable-ramp-delay = <1000>;
				regulator-boot-on;
				regulator-always-on;
			};
			reg_dldo1: dldo1 {
				regulator-name = "axp8191-dldo1";
				regulator-min-microvolt = <1800000>;
				regulator-max-microvolt = <1800000>;
				regulator-enable-ramp-delay = <1000>;
				regulator-boot-on;
				regulator-always-on;
			};
			reg_dldo2: dldo2 {
				regulator-name = "axp8191-dldo2";
				regulator-min-microvolt = <3300000>;
				regulator-max-microvolt = <3300000>;
				regulator-enable-ramp-delay = <1000>;
				regulator-boot-on;
				regulator-always-on;
			};
			reg_dldo3: dldo3 {
				regulator-name = "axp8191-dldo3";
				regulator-min-microvolt = <500000>;
				regulator-max-microvolt = <3400000>;
				regulator-enable-ramp-delay = <1000>;
			};
			reg_dldo4: dldo4 {
				regulator-name = "axp8191-dldo4";
				regulator-min-microvolt = <3300000>;
				regulator-max-microvolt = <3300000>;
				regulator-enable-ramp-delay = <1000>;
				regulator-boot-on;
				regulator-always-on;
			};
			reg_dldo5: dldo5 {
				regulator-name = "axp8191-dldo5";
				regulator-min-microvolt = <500000>;
				regulator-max-microvolt = <3400000>;
				regulator-enable-ramp-delay = <1000>;
			};
			reg_dldo6: dldo6 {
				regulator-name = "axp8191-dldo6";
				regulator-min-microvolt = <2500000>;
				regulator-max-microvolt = <2500000>;
				regulator-enable-ramp-delay = <1000>;
				regulator-boot-on;
				regulator-always-on;
			};
			reg_eldo1: eldo1 {
				regulator-name = "axp8191-eldo1";
				regulator-min-microvolt = <500000>;
				regulator-max-microvolt = <3400000>;
				regulator-enable-ramp-delay = <1000>;
				regulator-boot-on;
				regulator-always-on;
			};
			reg_eldo2: eldo2 {
				regulator-name = "axp8191-eldo2";
				regulator-min-microvolt = <500000>;
				regulator-max-microvolt = <3400000>;
				regulator-enable-ramp-delay = <1000>;
				regulator-boot-on;
				regulator-always-on;
			};
			reg_eldo3: eldo3 {
				regulator-name = "axp8191-eldo3";
				regulator-min-microvolt = <500000>;
				regulator-max-microvolt = <3400000>;
				regulator-enable-ramp-delay = <1000>;
			};
			reg_eldo4: eldo4 {
				regulator-name = "axp8191-eldo4";
				regulator-min-microvolt = <500000>;
				regulator-max-microvolt = <3400000>;
				regulator-enable-ramp-delay = <1000>;
			};
			reg_eldo5: eldo5 {
				regulator-name = "axp8191-eldo5";
				regulator-min-microvolt = <500000>;
				regulator-max-microvolt = <3400000>;
				regulator-enable-ramp-delay = <1000>;
			};
			reg_eldo6: eldo6 {
				regulator-name = "axp8191-eldo6";
				regulator-min-microvolt = <800000>;
				regulator-max-microvolt = <800000>;
				regulator-enable-ramp-delay = <1000>;
				regulator-always-on;
				regulator-boot-on;
			};
			reg_dc1sw1: dc1sw1 {
				regulator-name = "axp8191-dc1sw1";
				swin-supply = <&reg_dcdc1>;
				regulator-min-microvolt = <3300000>;
				regulator-max-microvolt = <3300000>;
				regulator-boot-on;
				regulator-always-on;
			};
			reg_dc1sw2: dc1sw2 {
				regulator-name = "axp8191-dc1sw2";
				swin-supply = <&reg_dcdc1>;
				regulator-min-microvolt = <3300000>;
				regulator-max-microvolt = <3300000>;
				regulator-boot-on;
				regulator-always-on;
			};
		};

		virtual-dcdc1 {
			compatible = "xpower-vregulator,dcdc1";
			dcdc1-supply = <&reg_dcdc1>;
		};
		virtual-dcdc2 {
			compatible = "xpower-vregulator,dcdc2";
			dcdc2-supply = <&reg_dcdc2>;
		};
		virtual-dcdc3 {
			compatible = "xpower-vregulator,dcdc3";
			dcdc3-supply = <&reg_dcdc3>;
		};
		virtual-dcdc4 {
			compatible = "xpower-vregulator,dcdc4";
			dcdc4-supply = <&reg_dcdc4>;
		};
		virtual-dcdc5 {
			compatible = "xpower-vregulator,dcdc5";
			dcdc5-supply = <&reg_dcdc5>;
		};
		virtual-dcdc6 {
			compatible = "xpower-vregulator,dcdc6";
			dcdc6-supply = <&reg_dcdc6>;
		};
		virtual-dcdc7 {
			compatible = "xpower-vregulator,dcdc7";
			dcdc7-supply = <&reg_dcdc7>;
		};
		virtual-dcdc8 {
			compatible = "xpower-vregulator,dcdc8";
			dcdc8-supply = <&reg_dcdc8>;
		};
		virtual-dcdc9 {
			compatible = "xpower-vregulator,dcdc9";
			dcdc9-supply = <&reg_dcdc9>;
		};
		virtual-rtcldo {
			compatible = "xpower-vregulator,rtcldo";
			rtcldo-supply = <&reg_rtcldo>;
		};
		virtual-aldo1 {
			compatible = "xpower-vregulator,aldo1";
			aldo1-supply = <&reg_aldo1>;
		};
		virtual-aldo2 {
			compatible = "xpower-vregulator,aldo2";
			aldo2-supply = <&reg_aldo2>;
		};
		virtual-aldo3 {
			compatible = "xpower-vregulator,aldo3";
			aldo3-supply = <&reg_aldo3>;
		};
		virtual-aldo4 {
			compatible = "xpower-vregulator,aldo4";
			aldo4-supply = <&reg_aldo4>;
		};
		virtual-aldo5 {
			compatible = "xpower-vregulator,aldo5";
			aldo5-supply = <&reg_aldo5>;
		};
		virtual-aldo6 {
			compatible = "xpower-vregulator,aldo6";
			aldo6-supply = <&reg_aldo6>;
		};
		virtual-bldo1 {
			compatible = "xpower-vregulator,bldo1";
			bldo1-supply = <&reg_bldo1>;
		};
		virtual-bldo2 {
			compatible = "xpower-vregulator,bldo2";
			bldo2-supply = <&reg_bldo2>;
		};
		virtual-bldo3 {
			compatible = "xpower-vregulator,bldo3";
			bldo3-supply = <&reg_bldo3>;
		};
		virtual-bldo4 {
			compatible = "xpower-vregulator,bldo4";
			bldo4-supply = <&reg_bldo4>;
		};
		virtual-bldo5 {
			compatible = "xpower-vregulator,bldo5";
			bldo5-supply = <&reg_bldo5>;
		};
		virtual-cldo1 {
			compatible = "xpower-vregulator,cldo1";
			cldo1-supply = <&reg_cldo1>;
		};
		virtual-cldo2 {
			compatible = "xpower-vregulator,cldo2";
			cldo2-supply = <&reg_cldo2>;
		};
		virtual-cldo3 {
			compatible = "xpower-vregulator,cldo3";
			cldo3-supply = <&reg_cldo3>;
		};
		virtual-cldo4 {
			compatible = "xpower-vregulator,cldo4";
			cldo4-supply = <&reg_cldo4>;
		};
		virtual-cldo5 {
			compatible = "xpower-vregulator,cldo5";
			cldo5-supply = <&reg_cldo5>;
		};
		virtual-dldo1 {
			compatible = "xpower-vregulator,dldo1";
			dldo1-supply = <&reg_dldo1>;
		};
		virtual-dldo2 {
			compatible = "xpower-vregulator,dldo2";
			dldo2-supply = <&reg_dldo2>;
		};
		virtual-dldo3 {
			compatible = "xpower-vregulator,dldo3";
			dldo3-supply = <&reg_dldo3>;
		};
		virtual-dldo4 {
			compatible = "xpower-vregulator,dldo4";
			dldo4-supply = <&reg_dldo4>;
		};
		virtual-dldo5 {
			compatible = "xpower-vregulator,dldo5";
			dldo5-supply = <&reg_dldo5>;
		};
		virtual-dldo6 {
			compatible = "xpower-vregulator,dldo6";
			dldo6-supply = <&reg_dldo6>;
		};
		virtual-eldo1 {
			compatible = "xpower-vregulator,eldo1";
			eldo1-supply = <&reg_eldo1>;
		};
		virtual-eldo2 {
			compatible = "xpower-vregulator,eldo2";
			eldo2-supply = <&reg_eldo2>;
		};
		virtual-eldo3 {
			compatible = "xpower-vregulator,eldo3";
			eldo3-supply = <&reg_eldo3>;
		};
		virtual-eldo4 {
			compatible = "xpower-vregulator,eldo4";
			eldo4-supply = <&reg_eldo4>;
		};
		virtual-eldo5 {
			compatible = "xpower-vregulator,eldo5";
			eldo5-supply = <&reg_eldo5>;
		};
		virtual-eldo6 {
			compatible = "xpower-vregulator,eldo6";
			eldo6-supply = <&reg_eldo6>;
		};
		virtual-dc1sw1 {
			compatible = "xpower-vregulator,dc1sw1";
			dc1sw1-supply = <&reg_dc1sw1>;
		};
		virtual-dc1sw2 {
			compatible = "xpower-vregulator,dc1sw2";
			dc1sw2-supply = <&reg_dc1sw2>;
		};
	};
};

&s_twi1 {
	clock-frequency = <400000>;
	pinctrl-0 = <&s_twi1_pins_default>;
	pinctrl-1 = <&s_twi1_pins_sleep>;
	pinctrl-names = "default", "sleep";
	/* For stability and backwards compatibility, we recommend setting 'twi_drv_used' to 1 */
	twi_drv_used = <1>;
	status = "okay";

	eeprom@50 {
		compatible = "atmel,24c02";
		reg = <0x50>;
		pagesize = <8>;
		wp-gpios = <&pio PD 14 GPIO_ACTIVE_HIGH>;
	};
};

&spi0 {
	clock-frequency = <8000000>;
	pinctrl-names = "default", "sleep";
	pinctrl-0 = <&spi0_pins_default &spi0_cs0_pin>;
	pinctrl-1 = <&spi0_pins_sleep>;
	sunxi,spi-bus-mode = <SUNXI_SPI_BUS_NOR>;
	sunxi,spi-cs-mode = <SUNXI_SPI_CS_SOFT>;
	spi_slave_mode = <0>;
	sunxi,spi-num-cs = <1>;
	status = "okay";

	flash@0 {
		compatible = "jedec,spi-nor";
		reg = <0>;
		spi-max-frequency = <8000000>;
		spi-rx-bus-width = <1>;
		spi-tx-bus-width = <1>;
	};
};

&pwm0_4 {
	pinctrl-names = "active", "sleep";
	pinctrl-0 = <&pwm0_4_pins_active>;
	pinctrl-1 = <&pwm0_4_pins_sleep>;
	status = "disabled";
};

&s_pwm0_1 {
	pinctrl-names = "active", "sleep";
	pinctrl-0 = <&s_pwm0_1_pins_active>;
	pinctrl-1 = <&s_pwm0_1_pins_sleep>;
	status = "okay";
};

&rtc {
	status = "okay";
};

&cpul_thermal_zone {
	cooling-maps {
		map1 {
			trip = <&cpul_threshold>;
			cooling-device = <&fan0 0 THERMAL_NO_LIMIT>;
			contribution = <1024>;
		};
	};
};

&cpub_thermal_zone {
	cooling-maps {
		map1 {
			trip = <&cpub_threshold>;
			cooling-device = <&fan0 0 THERMAL_NO_LIMIT>;
			contribution = <1024>;
		};
	};
};

&rfkill {
	compatible = "allwinner,sunxi-rfkill";
	chip_en;
	power_en;
	pinctrl-0;
	pinctrl-names;
	status = "okay";

	/* wlan session */
	wlan {
		compatible    = "allwinner,sunxi-wlan";
		clocks;
		clock-names;
		wlan_power    = "axp8191-bldo5", "axp8191-cldo1"; /* vcc-pg/vcc-pm */
		wlan_power_vol= <1800000>, <1800000>;
		wlan_busnum   = <0x1>;
		wlan_regon    = <&r_pio PM 1 GPIO_ACTIVE_HIGH>;
		wlan_hostwake = <&r_pio PM 0 GPIO_ACTIVE_HIGH>;
		wakeup-source;
	};

	/* bt session */
	bt {
		compatible    = "allwinner,sunxi-bt";
		clocks;
		clock-names;
		bt_power    = "axp8191-bldo5", "axp8191-cldo1"; /* vcc-pg/vcc-pm */
		bt_power_vol= <1800000>, <1800000>;
		bt_rst_n      = <&r_pio PM 2 GPIO_ACTIVE_LOW>;
	};
};

&pd_vi_test {
	status = "disabled";
};

&pd_ve_dec_test {
	status = "disabled";
};

&pd_ve_enc_test {
	status = "disabled";
};

&pd_npu_test {
	status = "disabled";
};

&pd_gpu_top_test {
	status = "disabled";
};

&pd_gpu_core_test {
	status = "disabled";
};

&pd_pcie_test {
	status = "disabled";
};

&pd_usb2_test {
	status = "disabled";
};

&pd_de_sys_test {
	status = "disabled";
};

&pd_vo_test {
	status = "disabled";
};

&pd_vo1_test {
	status = "disabled";
};

&addr_mgt {
	compatible     = "allwinner,sunxi-addr_mgt";
	type_addr_wifi = <0x0>;
	type_addr_bt   = <0x0>;
	type_addr_eth  = <0x0>;
	status         = "okay";
};

&btlpm {
	compatible  = "allwinner,sunxi-btlpm";
	uart_index  = <0x1>;
	bt_wake     = <&r_pio PM 3 GPIO_ACTIVE_HIGH>;
	bt_hostwake = <&r_pio PM 4 GPIO_ACTIVE_HIGH>;
	wakeup-source;
	status      = "okay";
};

&de {
	assigned-clock-rates = <600000000>;
	chn_cfg_mode = <2>;
	status = "okay";
};

&vo0 {
	status = "okay";
};

&vo1 {
	status = "okay";
};

&tv0 {
	status = "okay";
};

&tv1 {
	status = "okay";
};

&dlcd0 {
	status = "disabled";
};

&dsi0 {
	status = "disabled";
	pinctrl-0 = <&dsi0_4lane_pins_a>;
	pinctrl-1 = <&dsi0_4lane_pins_b>;
	pinctrl-names = "active","sleep";

	ports {
		dsi0_out: port@1{
			dsi_out_panel: endpoint {
				remote-endpoint = <&panel_input>;
			};
		};
	};
	panel: panel@0 {
		// panel-out-reg = <0x00000001>; /* TODO: need to be fixed in the uboot */
		compatible = "allwinner,virtual-panel";
		status = "okay";
		reg = <0>;
		ports {
			panel_in: port@0 {
				reg = <0>;
				panel_input: endpoint@0 {
					reg = <0>;
					remote-endpoint = <&dsi_out_panel>;
				};
			};
			panel_out: port@1 {
				reg = <1>;
				panel_output_0: endpoint@0 {
					reg = <0>;
					remote-endpoint = <&panel0_in>;
				};
			};
		};
	};
};

&dsi0combophy {
	status = "okay";
};

&lradc {
	/* SW3: LRADC0 -- R150 (120 ohm) -- push button -- GND */
	key_cnt = <1>;
	key0 = <0 KEY_PROG1>;
	status = "okay";
};

&hdmi0 {
	dcdc2-supply = <&reg_dcdc2>;
	cldo2-supply = <&reg_cldo2>;
	hdmi_power0 = "dcdc2";
	hdmi_power1 = "cldo2";
	hdmi_power_cnt = <2>;

	hdmi_hdcp1x_enable = <0>;
	hdmi_hdcp2x_enable = <0>;
	hdmi_cec_enable = <0>;
	hdmi_clock_source = <0>;
	hdmi_resistor_select = <1>;
	hdmi_ddc_index = <20>;
	priority = <6>;
	/* U-Boot may publish an HDMI route after HPD-low forced output. */
	allwinner,force-full-modeset;

	force-output = <0>;
	force-output-timing = "440000-3440-3450-4500-4800-1440-1455-1464-1494";

	snps_phy = <
		 25000 185625 0x0007 0x8160 0x8188
		185625 185625 0x0007 0x8160 0x8198
		185625 340000 0x0004 0x8040 0x8E85
		340000 600000 0x0000 0x80c0 0x82F6>;

	status = "okay";
};

&gmac0_phy0 {
	compatible = "ethernet-phy-id001c.c916";
	reg = <1>;
	max-speed = <1000>;
	reset-gpios = <&pio PH 16 GPIO_ACTIVE_LOW>;
	reset-assert-us = <10000>;
	reset-deassert-us = <150000>;
	realtek,led1-link-led2-activity;
};

&gmac0 {
	pinctrl-names = "default", "sleep";
	pinctrl-0 = <&gmac0_pins_default>;
	pinctrl-1 = <&gmac0_pins_sleep>;
	phy-mode = "rgmii";
	/* V1.0 uses the PHY's 25 MHz crystal; PH15 is the power LED. */
	tx-delay = <12>;
	rx-delay = <21>;
	dwmac3v3-supply = <&reg_dldo2>;
	phy3v3-supply = <&reg_dcdc1>;
	status = "okay";
};

&hdmi_codec {
        extcon = <&hdmi0>;
        status = "okay";
};

/* audio dirver module -> I2S/PCM */
&i2s0_plat {
	tdm-num		= <0>;
	tx-pin		= <0>;
	rx-pin		= <0>;

	pinctrl-used;
	pinctrl-names	= "default","sleep";
	pinctrl-0	= <&i2s0_pins_a &i2s0_pins_b &i2s0_pins_c &i2s0_pins_d &i2s0_pins_e>;
	pinctrl-1	= <&i2s0_pins_f>;

	tx-hub-en;
	rx-sync-en;
	status		= "okay";
};

&i2s0_mach {
	soundcard-mach,format		= "i2s";
	soundcard-mach,frame-master	= <&i2s0_cpu>;
	soundcard-mach,bitclock-master	= <&i2s0_cpu>;
	/* soundcard-mach,frame-inversion; */
	/* soundcard-mach,bitclock-inversion; */
	soundcard-mach,slot-num		= <4>;
	soundcard-mach,slot-width	= <16>;
	soundcard-mach,jack-support	= <4>;
	soundcard-mach,widgets		= "Microphone", "HS MIC Jack",
					  "Headphone", "HP Jack";
	soundcard-mach,pin-switches	= "MIC1", "MIC2",
					  "LINEINL","LINEINR",
					  "HPOUTL","HPOUTR",
					  "LINEOUTL","LINEOUTR",
					  "SPK";
	soundcard-mach,routing	= "MIC1P_PIN", "MIC1",
				  "MIC1N_PIN", "MIC1",
				  "MIC2P_PIN", "MIC2",
				  "MIC2N_PIN", "MIC2",
				  "LINEINL_PIN", "LINEINL",
				  "LINEINR_PIN", "LINEINR",
				  "LINEOUTL", "LINEOUTLP_PIN",
				  "LINEOUTL", "LINEOUTLN_PIN",
				  "LINEOUTR", "LINEOUTRP_PIN",
				  "LINEOUTR", "LINEOUTRN_PIN",
				  "SPK", "LINEOUTLP_PIN",
				  "SPK", "LINEOUTLN_PIN",
				  "SPK", "LINEOUTRP_PIN",
				  "SPK", "LINEOUTRN_PIN",
				  "HPOUTL", "HPOUTL_PIN",
				  "HPOUTR", "HPOUTR_PIN";
	status		= "okay";
	i2s0_cpu: soundcard-mach,cpu {
		sound-dai = <&i2s0_plat>;
		/* note: pll freq = 24.576M or 22.5792M * pll-fs */
		soundcard-mach,pll-fs	= <1>;
		soundcard-mach,mclk-fs	= <2>;
		soundcard-mach,mclk-fp	= <11289600 12288000>;
	};
	i2s0_codec: soundcard-mach,codec {
		sound-dai               = <&ac101>;
	};
};

&i2s1_plat {
	tdm-num		= <1>;
	tx-pin		= <0>;
	rx-pin		= <0>;

	pinctrl-used;
	pinctrl-names	= "default","sleep";
	pinctrl-0	= <&i2s1_pins_a &i2s1_pins_b &i2s1_pins_c &i2s1_pins_d>;
	pinctrl-1	= <&i2s1_pins_e>;

	tx-hub-en;
	rx-sync-en;
	status		= "disabled";
};




&i2s3_plat {
	tdm-num		= <3>;
	tx-pin          = <0 1 2 3>;
	tx-pin0-map0    = <0x76543210>;
	tx-pin0-map1    = <0xFEDCBA98>;
	tx-pin1-map0    = <0x76543210>;
	tx-pin1-map1    = <0xFEDCBA98>;
	tx-pin2-map0    = <0x76543210>;
	tx-pin2-map1    = <0xFEDCBA98>;
	tx-pin3-map0    = <0x76543210>;
	tx-pin3-map1    = <0xFEDCBA98>;
	rx-pin		= <0>;

	tx-hub-en;
	rx-sync-en;
	dai-type = "hdmi";
	status		= "okay";
};

&i2s3_mach {
	soundcard-mach,format		= "i2s";
	soundcard-mach,frame-master	= <&i2s3_cpu>;
	soundcard-mach,bitclock-master	= <&i2s3_cpu>;
	/* soundcard-mach,frame-inversion; */
	/* soundcard-mach,bitclock-inversion; */
	soundcard-mach,name = "allwinner-hdmi";
	soundcard-mach,slot-num		= <2>;
	soundcard-mach,slot-width	= <32>;
	status		= "okay";
	i2s3_cpu: soundcard-mach,cpu {
		sound-dai = <&i2s3_plat>;
		soundcard-mach,pll-fs	= <1>;
		soundcard-mach,mclk-fs	= <0>;
	};
	i2s3_codec: soundcard-mach,codec {
		sound-dai               = <&hdmi_codec>;
	};
};

&ledc {
	pinctrl-names = "default", "sleep";
	pinctrl-0 = <&ledc_pins_a>;
	pinctrl-1 = <&ledc_pins_b>;
	led_count = <34>;
	output_mode = "GRB";
	reset_ns = <84>;
	t1h_ns = <800>;
	t1l_ns = <320>;
	t0h_ns = <300>;
	t0l_ns = <800>;
	wait_time0_ns = <84>;
	wait_time1_ns = <84>;
	wait_data_time_ns = <600000>;
	status = "disabled";
};

&cpu0 {
	cpu-supply = <&reg_dcdc5>;
};

&dsufreq {
	dsu-supply = <&reg_dcdc5>;
};

&cpu6 {
	cpu-supply = <&reg_dcdc3>;
};

&i2s1_mach {
	soundcard-mach,format		= "dsp_a";
	soundcard-mach,frame-master	= <&i2s1_cpu>;
	soundcard-mach,bitclock-master	= <&i2s1_cpu>;
	/* soundcard-mach,frame-inversion; */
	soundcard-mach,bitclock-inversion;
	soundcard-mach,slot-num		= <2>;
	soundcard-mach,slot-width	= <16>;
	status		= "disabled";
	i2s1_cpu: soundcard-mach,cpu {
		sound-dai = <&i2s1_plat>;
		soundcard-mach,pll-fs	= <1>;
		soundcard-mach,mclk-fp;
		soundcard-mach,mclk-fs	= <1>;
	};
	i2s1_codec: soundcard-mach,codec {
		soundcard-mach,pll-fs	= <1>;
	};
};

&npu {
	npu-setvol = <0>;
	npu-supply = <&reg_dcdc2>;
	status = "okay";
};

&gpu  {
	gpu-supply = <&reg_dcdc4>;
};
